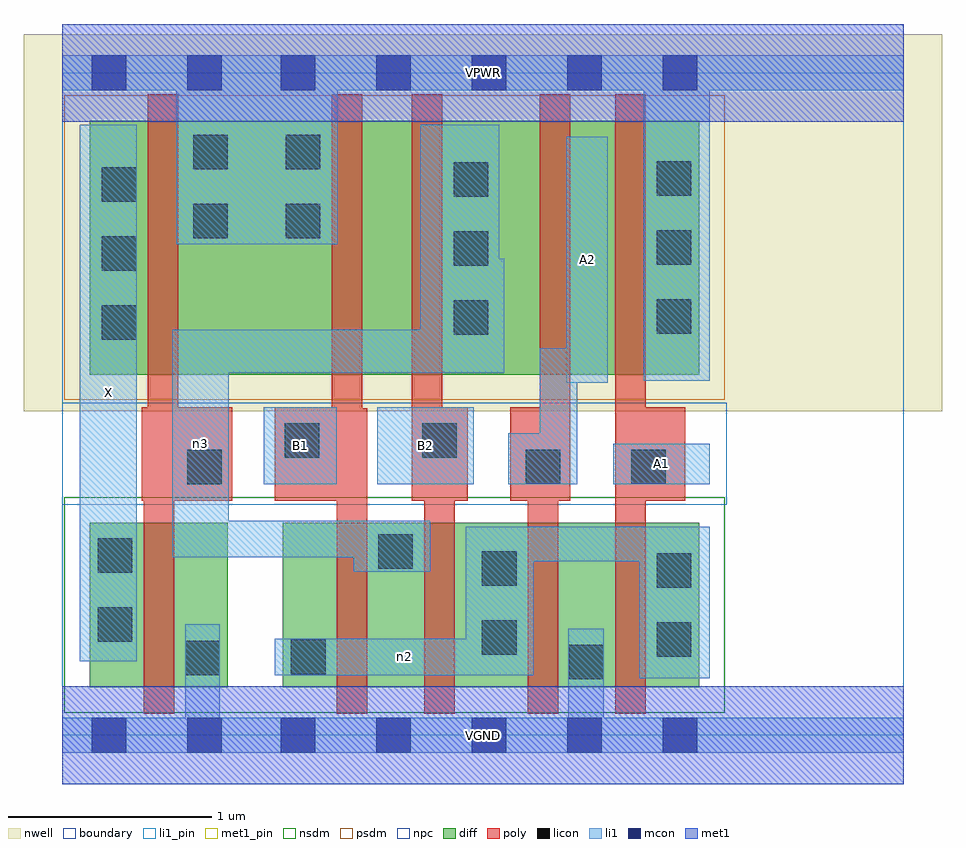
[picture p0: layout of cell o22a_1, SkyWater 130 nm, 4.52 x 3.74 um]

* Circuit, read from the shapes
.subckt o22a_1 A1 A2 B1 B2 VGND VPWR X n2 n3
XM1 VGND n3 X VSUBS sky130_fd_pr__nfet_01v8 w=0.81 l=0.15
XM2 n3 B1 n2 VSUBS sky130_fd_pr__nfet_01v8 w=0.81 l=0.15
XM3 n2 B2 n3 VSUBS sky130_fd_pr__nfet_01v8 w=0.81 l=0.15
XM4 VGND A2 n2 VSUBS sky130_fd_pr__nfet_01v8 w=0.81 l=0.15
XM5 n2 A1 VGND VSUBS sky130_fd_pr__nfet_01v8 w=0.81 l=0.15
XM6 VPWR n3 X n1 sky130_fd_pr__pfet_01v8 w=1.25 l=0.15
XM7 n4 B1 VPWR n1 sky130_fd_pr__pfet_01v8 w=1.25 l=0.15
XM8 n3 B2 n4 n1 sky130_fd_pr__pfet_01v8 w=1.25 l=0.15
XM9 n5 A2 n3 n1 sky130_fd_pr__pfet_01v8 w=1.25 l=0.15
XM10 VPWR A1 n5 n1 sky130_fd_pr__pfet_01v8 w=1.25 l=0.15
.ends

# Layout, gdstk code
import gdstk
lib = gdstk.Library(unit=1e-6, precision=1e-09)
def R(c, l, rs):  # rectangles x0, y0, x1, y1
    for r in rs: c.add(gdstk.rectangle(r[:2], r[2:], *l))
def A(c, l, x, y, w, h, nx, ny, dx, dy):  # array of equal rectangles
    R(c, l, [(x+i*dx, y+j*dy, x+i*dx+w, y+j*dy+h) for i in range(nx) for j in range(ny)])
nwell = (64, 20)
diff = (65, 20)
poly = (66, 20)
licon = (66, 44)
li1_pin = (67, 16)
li1 = (67, 20)
mcon = (67, 44)
met1_pin = (68, 16)
met1 = (68, 20)
nsdm = (93, 44)
psdm = (94, 20)
npc = (95, 20)
boundary = (235, 4)

o22a_1 = lib.new_cell('o22a_1')
R(o22a_1, nwell, [(-0.19,1.595,4.33,3.45), (0,1.595,4.14,3.45)])
R(o22a_1, diff, [(0.135,0.235,0.815,1.045), (1.085,0.235,3.135,1.045), (0.135,1.775,3.135,3.025)])
R(o22a_1, poly, [(0.4,0.105,0.55,1.615), (1.35,0.105,1.5,1.61), (1.78,0.105,1.93,1.615), (2.29,0.105,2.44,1.615), (2.72,0.105,2.87,3.155), (0.39,1.155,0.835,1.615), (0.42,1.155,0.57,3.155), (1.045,1.155,1.475,1.615), (1.325,1.155,1.475,3.155), (1.72,1.155,1.87,3.155), (1.72,1.155,1.995,1.615), (2.205,1.155,2.5,1.615), (2.35,1.155,2.5,3.155), (2.72,1.155,3.065,1.615)])
A(o22a_1, licon, 0.195, 1.945, 0.17, 0.17, 1, 3, 0, 0.34)
A(o22a_1, licon, 1.925, 1.97, 0.17, 0.17, 1, 3, 0, 0.34)
A(o22a_1, licon, 2.925, 1.975, 0.17, 0.17, 1, 3, 0, 0.34)
R(o22a_1, licon, [(2.495,0.275,2.665,0.445), (0.605,0.295,0.775,0.465), (1.125,0.3,1.295,0.47), (2.925,0.385,3.095,0.555), (2.065,0.395,2.235,0.565), (0.175,0.46,0.345,0.63), (2.925,0.725,3.095,0.895), (2.065,0.735,2.235,0.905), (0.175,0.8,0.345,0.97), (1.555,0.82,1.725,0.99), (0.615,1.235,0.785,1.405), (2.28,1.235,2.45,1.405), (2.8,1.235,2.97,1.405), (1.095,1.365,1.265,1.535), (1.77,1.365,1.94,1.535), (0.645,2.445,0.815,2.615), (1.1,2.445,1.27,2.615), (0.645,2.785,0.815,2.955), (1.1,2.785,1.27,2.955)])
R(o22a_1, li1_pin, [(0.085,0.365,0.365,3.005), (0.99,1.235,1.35,1.615), (1.55,1.235,2.025,1.615), (2.71,1.235,3.185,1.435), (2.48,1.735,2.685,2.945)])
R(o22a_1, li1, [(0,-0.085,4.14,0.085), (0.605,-0.085,0.775,0.545), (2.49,-0.085,2.665,0.525), (2.84,0.28,3.185,1.025), (1.045,0.295,2.32,0.475), (1.985,0.295,2.32,1.025), (0.085,0.365,0.365,3.005), (1.435,0.805,1.81,1.055), (1.985,0.855,3.185,1.025), (0.54,0.875,0.82,1.995), (0.54,0.875,1.81,1.055), (0.99,1.235,1.35,1.615), (1.55,1.235,2.025,1.615), (2.195,1.235,2.535,1.485), (2.35,1.235,2.535,1.905), (2.71,1.235,3.185,1.435), (2.48,1.735,2.685,2.945), (2.86,1.745,3.185,3.345), (0.54,1.785,2.175,1.995), (1.76,1.785,2.15,3.005), (1.76,1.785,2.175,2.345), (0.56,2.415,1.355,3.345), (0,3.175,4.14,3.345)])
A(o22a_1, mcon, 1.075, -0.085, 0.17, 0.17, 5, 2, 0.47, 3.26)
R(o22a_1, mcon, [(0.145,-0.085,0.315,0.085), (0.615,-0.085,0.785,0.085), (0.145,3.175,0.315,3.345), (0.615,3.175,0.785,3.345)])
R(o22a_1, met1_pin, [(0,-0.24,4.14,0.24), (0,3.02,4.14,3.5)])
R(o22a_1, met1, [(0,-0.24,4.14,0.24), (0,3.02,4.14,3.5)])
R(o22a_1, nsdm, [(0.01,0.11,3.26,1.17)])
R(o22a_1, psdm, [(0.01,1.65,3.26,3.15)])
R(o22a_1, npc, [(0,1.135,3.27,1.635)])
R(o22a_1, boundary, [(0,0,4.14,3.26)])
o22a_1.add(gdstk.Label('A1', (2.947,1.335), layer=67, texttype=5))
o22a_1.add(gdstk.Label('A2', (2.582,2.34), layer=67, texttype=5))
o22a_1.add(gdstk.Label('B1', (1.17,1.425), layer=67, texttype=5))
o22a_1.add(gdstk.Label('B2', (1.787,1.425), layer=67, texttype=5))
o22a_1.add(gdstk.Label('X', (0.225,1.685), layer=67, texttype=5))
o22a_1.add(gdstk.Label('n2', (1.682,0.385), layer=67, texttype=5))
o22a_1.add(gdstk.Label('n3', (0.68,1.435), layer=67, texttype=5))
o22a_1.add(gdstk.Label('VPWR', (2.07,3.26), layer=68, texttype=5))
o22a_1.add(gdstk.Label('VGND', (2.07,0), layer=68, texttype=5))
o22a_1.add(gdstk.Label('A1', (2.947,1.335), layer=67, texttype=16))
o22a_1.add(gdstk.Label('A2', (2.582,2.34), layer=67, texttype=16))
o22a_1.add(gdstk.Label('B1', (1.17,1.425), layer=67, texttype=16))
o22a_1.add(gdstk.Label('B2', (1.787,1.425), layer=67, texttype=16))
o22a_1.add(gdstk.Label('X', (0.225,1.685), layer=67, texttype=16))
o22a_1.add(gdstk.Label('VPWR', (2.07,3.26), layer=68, texttype=16))
o22a_1.add(gdstk.Label('VGND', (2.07,0), layer=68, texttype=16))

lib.write_gds('o22a_1.gds')
